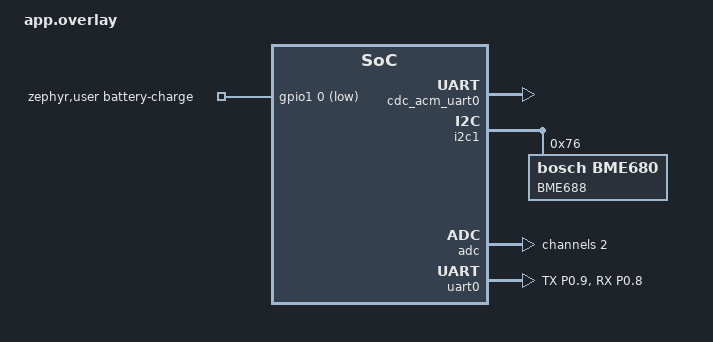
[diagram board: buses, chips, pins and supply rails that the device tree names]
/*
 * Copyright (c) 2022 Nordic Semiconductor ASA
 *
 * SPDX-License-Identifier: LicenseRef-Nordic-5-Clause
 */

/ {
	zephyr,user {
		battery-charge-gpios = <&gpio1 0 (GPIO_PULL_UP | GPIO_ACTIVE_LOW)>;
	};

	chosen {
		zephyr,console = &cdc_acm_uart0;
		nordic,pm-ext-flash = &mx25r64;
	};

	stepper_drivers {
		stepper1: stepper_1 {
			compatible = "zephyr,stepper";
			status = "okay";

			dir-gpios = <&gpio0 4 GPIO_ACTIVE_LOW>;
			step-gpios = <&gpio0 5 GPIO_ACTIVE_HIGH>;
			m1-gpios = <&gpio0 10 GPIO_ACTIVE_HIGH>;
			m2-gpios = <&gpio0 11 GPIO_ACTIVE_HIGH>;
			nstby-gpios = <&gpio0 12 GPIO_ACTIVE_HIGH>;
			counter-timer = <&timer2>;

			distance-per-step-mm = <1>;
			max-acceleration = <50>;
			max-velocity = <200>;
		};
	};
};

&zephyr_udc0 {
	cdc_acm_uart0: cdc_acm_uart0 {
		compatible = "zephyr,cdc-acm-uart";
		label = "CDC_ACM_0";
	};
};

&i2c1 {
	status = "okay";

	bme688@76 {
		compatible = "bosch,bme680";
		label = "BME688";
		reg = <0x76>;
		status = "okay";
	};
};

&adc {
	#address-cells = <1>;
	#size-cells = <0>;

	channel@2 {
		reg = <2>;
		zephyr,gain = "ADC_GAIN_1";
		zephyr,reference = "ADC_REF_INTERNAL";
		zephyr,acquisition-time = <ADC_ACQ_TIME(ADC_ACQ_TIME_MICROSECONDS, 40)>;
		zephyr,input-positive = <NRF_SAADC_AIN2>;
		zephyr,resolution = <12>;
		zephyr,oversampling = <4>;
	};
};

/* Move UART0 to free the 0.10, 0.11 and 0.12 pins */
&uart0 {
	pinctrl-0 = <&uart0_default_alt>;
	pinctrl-1 = <&uart0_sleep_alt>;
	pinctrl-names = "default", "sleep";
};

&pinctrl {
	uart0_default_alt: uart0_default_alt {
		group1 {
			psels = <NRF_PSEL(UART_TX, 0, 9)>,
				<NRF_PSEL(UART_RX, 0, 8)>;
		};
	};

	uart0_sleep_alt: uart0_sleep_alt {
		group1 {
			psels = <NRF_PSEL(UART_TX, 0, 9)>,
				<NRF_PSEL(UART_RX, 0, 8)>;
			low-power-enable;
		};
	};
};

/* Disable unused peripherals to reduce power consumption */
&pwm1 {
	status = "disabled";
};
&adxl362 {
	status = "disabled";
};
&spi0 {
	status = "disabled";
};
